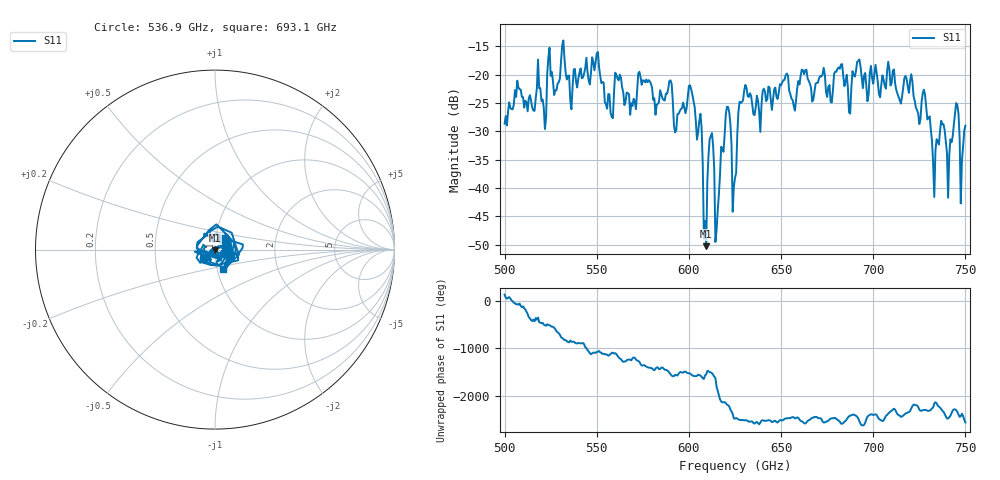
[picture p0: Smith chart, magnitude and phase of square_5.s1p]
!Created with skrf (http://scikit-rf.org).
# GHz S MA R 50.0
!freq magS11 angS11
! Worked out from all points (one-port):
!   401 points, 500 GHz to 750 GHz, reference 50 ohm
!   lowest |S11| = -50.3 dB at 609.4 GHz (marker M1), VSWR 1.01, Z = 49.9 - j0.29 ohm
!   |S11| at or under -10 dB: start of sweep to end of sweep
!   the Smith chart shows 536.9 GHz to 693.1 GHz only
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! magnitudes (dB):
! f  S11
! 500 GHz  -28.7
! 506.9 GHz  -21.1
! 521.2 GHz  -25.9
! 524.4 GHz  -15.3
! 528.1 GHz  -22.8
! 531.2 GHz  -14.8
! 535.6 GHz  -24.6
! 550.6 GHz  -16.0
! 557.5 GHz  -26.7
! 562.5 GHz  -20.0
! 589.4 GHz  -21.2
! 593.8 GHz  -27.0
! 601.2 GHz  -22.6
! 606.2 GHz  -26.9
! 609.4 GHz  -50.3
! 611.9 GHz  -30.8
! 615.6 GHz  -44.0
! 621.2 GHz  -25.7
! 625 GHz  -38.2
! 630 GHz  -22.8
! 656.2 GHz  -24.5
! 662.5 GHz  -19.9
! 687.5 GHz  -26.9
! 691.9 GHz  -17.6
! 718.8 GHz  -22.2
! 727.5 GHz  -22.7
! 733.1 GHz  -41.6
! 750 GHz  -29.0
